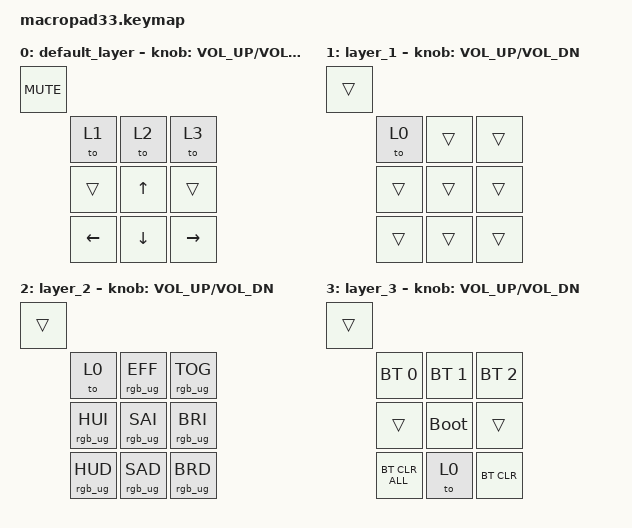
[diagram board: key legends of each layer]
/*
 * Copyright (c) 2020 The ZMK Contributors
 *
 * SPDX-License-Identifier: MIT
 */

#include <behaviors.dtsi>
#include <dt-bindings/zmk/bt.h>
#include <dt-bindings/zmk/keys.h>
#include <dt-bindings/zmk/rgb.h>

/ {
    behaviors {
        Enc_RGB_speed: Enc_RGB_speed {
            compatible = "zmk,behavior-sensor-rotate";
            label = "ENC_RGB_SPEED";
            #sensor-binding-cells = <0>;
            bindings = <&rgb_ug RGB_SPD>, <&rgb_ug RGB_SPI>;

            tap-ms = <3>;
        };
    };

    keymap {
        compatible = "zmk,keymap";

        default_layer {
            // --------------------------------
            // |  trans  |
            // |  trans  |  trans  |  trans  |
            // |  trans  |  trans  |  trans  |
            // |  trans  |  trans  |  trans  |                        

            bindings = <
&kp C_MUTE
            &to 1           &to 2           &to 3
            &trans          &kp UP_ARROW    &trans
            &kp LEFT_ARROW  &kp DOWN_ARROW  &kp RIGHT_ARROW
            >;

            sensor-bindings = <&inc_dec_kp C_VOL_UP C_VOL_DN>;
        };

        layer_1 {
            bindings = <
&trans
        &to 0   &trans  &trans
        &trans  &trans  &trans
        &trans  &trans  &trans
            >;

            sensor-bindings = <&inc_dec_kp C_VOL_UP C_VOL_DN>;
        };

        layer_2 {
            bindings = <
&trans
        &to 0            &rgb_ug RGB_EFF  &rgb_ug RGB_TOG
        &rgb_ug RGB_HUI  &rgb_ug RGB_SAI  &rgb_ug RGB_BRI
        &rgb_ug RGB_HUD  &rgb_ug RGB_SAD  &rgb_ug RGB_BRD
            >;

            sensor-bindings = <&inc_dec_kp C_VOL_UP C_VOL_DN>;
        };

        layer_3 {
            bindings = <
&trans
        &bt BT_SEL 0    &bt BT_SEL 1  &bt BT_SEL 2
        &trans          &bootloader   &trans
        &bt BT_CLR_ALL  &to 0         &bt BT_CLR
            >;

            sensor-bindings = <&inc_dec_kp C_VOL_UP C_VOL_DN>;
        };
    };
};
